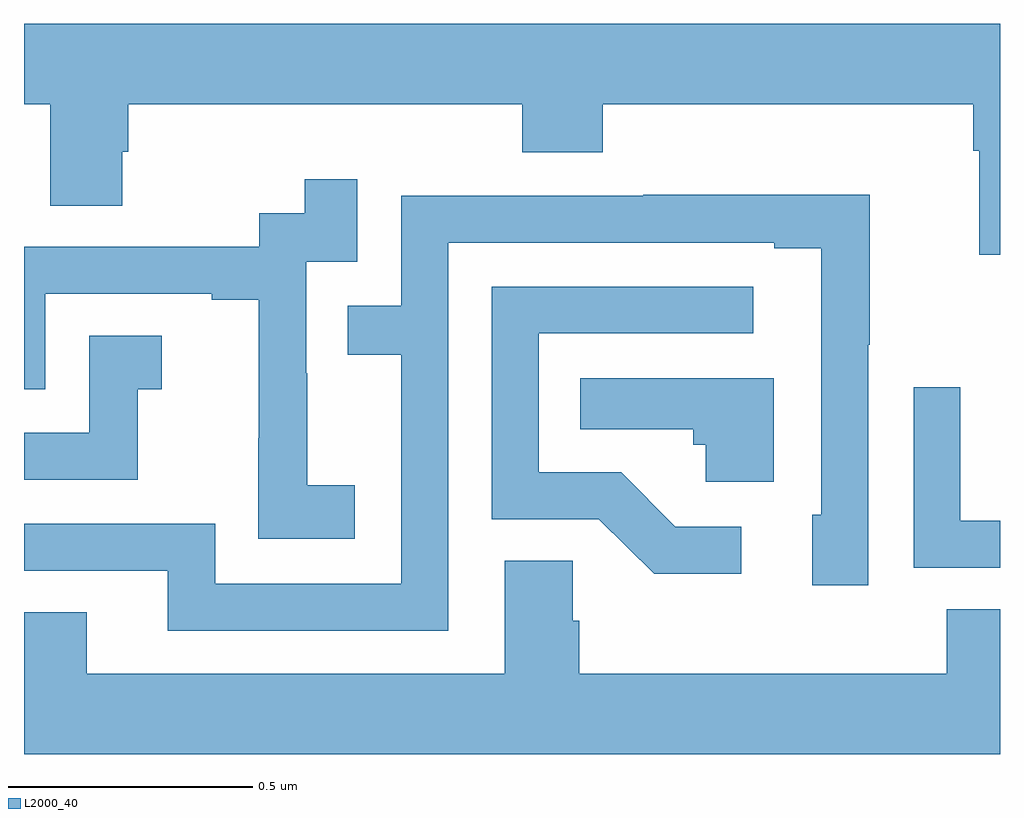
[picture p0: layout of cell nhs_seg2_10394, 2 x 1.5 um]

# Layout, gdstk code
import gdstk
lib = gdstk.Library(unit=1e-6, precision=1e-09)
def P(c, l, *ps):  # polygons
    for p in ps: c.add(gdstk.Polygon(p, *l))
L2000_40 = (2000, 40)

nhs_seg2_10394 = lib.new_cell('nhs_seg2_10394')
P(nhs_seg2_10394, L2000_40, [(243,602.512),(241,602.512),(241,602.348),(241.054,602.348),(241.054,602.14),(241.201,602.14),(241.201,602.25),(241.214,602.25),(241.214,602.348),(242.021,602.348),(242.021,602.249),(242.186,602.249),(242.186,602.348),(242.945,602.348),(242.945,602.252),(242.957,602.252),(242.957,602.039),(243,602.039)],
  [(241.678,601.567),(241.58,601.567),(241.58,601.796),(241.578,601.796),(241.578,602.025),(241.683,602.025),(241.683,602.194),(241.575,602.194),(241.575,602.124),(241.482,602.124),(241.482,602.055),(241,602.055),(241,601.764),(241.044,601.764),(241.044,601.959),(241.385,601.959),(241.385,601.947),(241.481,601.947),(241.481,601.663),(241.48,601.663),(241.48,601.457),(241.678,601.457)],
  [(241.869,602.064),(242.537,602.064),(242.537,602.052),(242.634,602.052),(242.634,601.506),(242.615,601.506),(242.615,601.362),(242.73,601.362),(242.73,601.855),(242.733,601.855),(242.733,602.162),(242.269,602.162),(242.269,602.16),(241.773,602.16),(241.773,601.935),(241.663,601.935),(241.663,601.834),(241.773,601.834),(241.773,601.365),(241.392,601.365),(241.392,601.488),(241,601.488),(241,601.392),(241.295,601.392),(241.295,601.269),(241.869,601.269)],
  [(242.47,601.482),(242.335,601.482),(242.224,601.593),(242.055,601.593),(242.055,601.878),(242.494,601.878),(242.494,601.974),(241.959,601.974),(241.959,601.497),(242.178,601.497),(242.291,601.385),(242.47,601.385)],
  [(241.233,601.763),(241.282,601.763),(241.282,601.873),(241.134,601.873),(241.134,601.674),(241,601.674),(241,601.578),(241.233,601.578)],
  [(242.536,601.786),(242.14,601.786),(242.14,601.682),(242.371,601.682),(242.371,601.65),(242.397,601.65),(242.397,601.574),(242.536,601.574)],
  [(243,601.494),(242.919,601.494),(242.919,601.768),(242.823,601.768),(242.823,601.398),(243,601.398)],
  [(243,601.313),(242.891,601.313),(242.891,601.18),(242.138,601.18),(242.138,601.289),(242.124,601.289),(242.124,601.412),(241.985,601.412),(241.985,601.18),(241.129,601.18),(241.129,601.307),(241,601.307),(241,601.016),(243,601.016)])

lib.write_gds('nhs_seg2_10394.gds')
